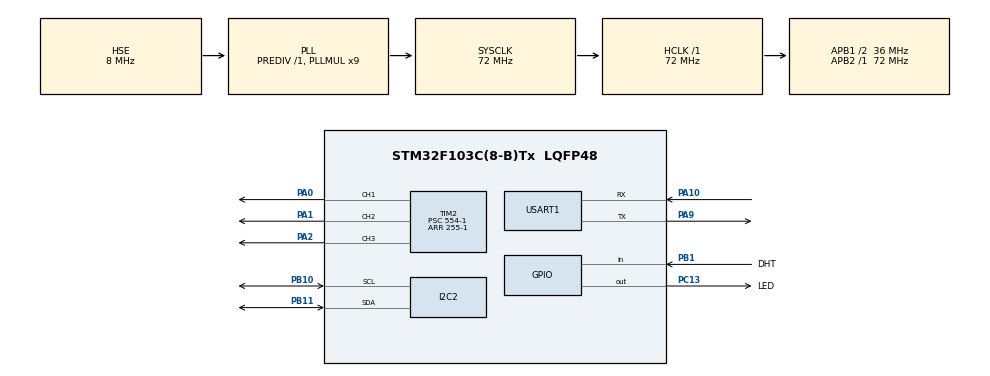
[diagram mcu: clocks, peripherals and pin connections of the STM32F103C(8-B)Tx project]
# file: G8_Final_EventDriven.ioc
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Mcu.Family=STM32F1
Mcu.Name=STM32F103C(8-B)Tx
Mcu.Package=LQFP48
NVIC.PriorityGroup=NVIC_PRIORITYGROUP_4
NVIC.TIM1_BRK_IRQn=true\:0\:0\:false\:false\:true\:true\:true\:true
NVIC.TIM1_UP_IRQn=true\:0\:0\:false\:false\:true\:true\:true\:true
NVIC.USART1_IRQn=true\:0\:0\:false\:false\:true\:true\:true\:true
PA0-WKUP.Signal=S_TIM2_CH1_ETR
PA1.Signal=S_TIM2_CH2
PA10.Mode=Asynchronous
PA10.Signal=USART1_RX
PA2.Signal=S_TIM2_CH3
PA9.Mode=Asynchronous
PA9.Signal=USART1_TX
PB1.GPIO_Label=DHT
PB1.Signal=GPIO_Input
PB10.Mode=I2C
PB10.Signal=I2C2_SCL
PB11.Mode=I2C
PB11.Signal=I2C2_SDA
PC13-TAMPER-RTC.GPIO_Label=LED
PC13-TAMPER-RTC.Signal=GPIO_Output
PD0-OSC_IN.Mode=HSE-External-Oscillator
PD0-OSC_IN.Signal=RCC_OSC_IN
PD1-OSC_OUT.Mode=HSE-External-Oscillator
PD1-OSC_OUT.Signal=RCC_OSC_OUT
ProjectManager.HeapSize=0x200
ProjectManager.StackSize=0x400
ProjectManager.TargetToolchain=STM32CubeIDE
RCC.AHBFreq_Value=72000000
RCC.APB1CLKDivider=RCC_HCLK_DIV2
RCC.APB1Freq_Value=36000000
RCC.APB1TimFreq_Value=72000000
RCC.APB2Freq_Value=72000000
RCC.APB2TimFreq_Value=72000000
RCC.HCLKFreq_Value=72000000
RCC.PLLMUL=RCC_PLL_MUL9
RCC.PLLSourceVirtual=RCC_PLLSOURCE_HSE
RCC.SYSCLKFreq_VALUE=72000000
RCC.SYSCLKSource=RCC_SYSCLKSOURCE_PLLCLK
RCC.USBFreq_Value=72000000
SH.S_TIM2_CH1_ETR.0=TIM2_CH1,PWM Generation1 CH1
SH.S_TIM2_CH2.0=TIM2_CH2,PWM Generation2 CH2
SH.S_TIM2_CH3.0=TIM2_CH3,PWM Generation3 CH3
TIM1.Period=200-1
TIM1.Prescaler=360-1
TIM2.Channel-PWM\ Generation1\ CH1=TIM_CHANNEL_1
TIM2.Channel-PWM\ Generation2\ CH2=TIM_CHANNEL_2
TIM2.Channel-PWM\ Generation3\ CH3=TIM_CHANNEL_3
TIM2.Period=255-1
TIM2.Prescaler=554-1
TIM4.Period=0xFFFF-1
TIM4.Prescaler=72-1
USART1.VirtualMode=VM_ASYNC
VP_TIM1_VS_ClockSourceINT.Mode=Internal
VP_TIM2_VS_ClockSourceINT.Mode=Internal
VP_TIM4_VS_ClockSourceINT.Mode=Internal
board=custom

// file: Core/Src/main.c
/* USER CODE BEGIN Header */
/**
  ******************************************************************************
  * @file           : main.c
  * @brief          : Main program body
  ******************************************************************************
  * @attention
  *
  * Copyright (c) 2023 STMicroelectronics.
  * All rights reserved.
  *
  * This software is licensed under terms that can be found in the LICENSE file
  * in the root directory of this software component.
  * If no LICENSE file comes with this software, it is provided AS-IS.
  *
  ******************************************************************************
  */
/* USER CODE END Header */
#include "main.h"

/* USER CODE BEGIN Includes */
#include <stdio.h>
#include <string.h>
#include <stdlib.h>
#include "taskQueue.h"
#include "dht11.h"
#include "rgb.h"
#include "delay_timer.h"
#include "lcd_i2c.h"
/* USER CODE END Includes */

/* USER CODE BEGIN PTD */

typedef enum
{
	DISPLAY_TEMP_HUMI,
	DISPLAY_TEMP,
	DISPLAY_HUMI,
} DisplayMode_t;

/* USER CODE END PTD */

/* USER CODE BEGIN PD */

#define MAX_RX_LEN 			13
#define RGB_COMMAND_LEN		12
#define DISPLAY_COMMAND_LEN 11
#define TIME_COMMAND_LEN 	8

/* USER CODE END PD */

I2C_HandleTypeDef hi2c2;

TIM_HandleTypeDef htim1;
TIM_HandleTypeDef htim2;
TIM_HandleTypeDef htim4;

UART_HandleTypeDef huart1;

/* USER CODE BEGIN PV */
RGB_t rgb;
const uint16_t rgbInterval = 500;

DHT11_Sensor dht;
DHT11_Status dhtStatus = DHT11_OK;
uint32_t dhtInterval = 2000;

TaskQueue_t queue;
Queue_Status queueStatus = QUEUE_OK;

LCD_I2C_Name lcd;

uint8_t red = 0, green = 0, blue = 0;
uint32_t P, t0;

uint8_t rxData[MAX_RX_LEN];
uint8_t rxDataIndex = 0;

DisplayMode_t DisplayMode = DISPLAY_TEMP_HUMI;
//TaskIndex_t TaskIndex;
pTaskFunction currentTask;

uint32_t count = 0;

/* USER CODE END PV */

void SystemClock_Config(void);
static void MX_GPIO_Init(void);
static void MX_TIM2_Init(void);
static void MX_TIM4_Init(void);
static void MX_USART1_UART_Init(void);
static void MX_I2C2_Init(void);
static void MX_TIM1_Init(void);
/* USER CODE BEGIN PFP */
void vTask_HandleInterrupt();
void vTask_ReadData();
void vTask_ControlRgb();
void vTask_Display();
void vTask_SendToCom();

/* USER CODE END PFP */

/* USER CODE BEGIN 0 */

int __io_putchar(int ch)
{
	HAL_UART_Transmit(&huart1, (uint8_t *)&ch, 1, HAL_MAX_DELAY);

	return ch;
}

void HAL_UART_RxCpltCallback(UART_HandleTypeDef *huart)
{
	if (huart->Instance == huart1.Instance)
	{
		if (rxData[rxDataIndex] == '@')
		{
			rxData[rxDataIndex] = '\0';
			queueStatus = Queue_PushFront(&queue, vTask_HandleInterrupt);
			rxDataIndex = 0;
		}
		else
		{
			rxDataIndex ++;
		}
	}
	HAL_UART_Receive_IT(&huart1, (uint8_t*)&rxData[rxDataIndex], 1);
}

void vTask_HandleInterrupt()
{
	NVIC_DisableIRQ(USART1_IRQn);
	const uint8_t* numPart;
	uint8_t buffer[5];
	printf("\n");
	switch (strlen((const char*)rxData))
	{
		case RGB_COMMAND_LEN:
			if (rxData[0] == 'r' && rxData[1] == 'g' && rxData[2] == 'b')
			{
				numPart = rxData + 3;
				for (int i = 0; i < 3; i++)
				{
					strncpy(buffer, (const char*)(numPart + i * 3), 3);
					buffer[3] = '\0'; // Null-terminate the buffer

					switch (i)
					{
						case 0: red = (uint8_t)atoi((const char*)buffer); break;
						case 1: green = (uint8_t)atoi((const char*)buffer); break;
						case 2: blue = (uint8_t)atoi((const char*)buffer); break;
					}
				}
				printf("Change RGB color:\r\n");
				printf("RED = %d\r\nGREEN = %d\r\nBLUE = %d\r\n\n", red, green, blue);
			}
			else
			{
				printf("Error Command Syntax\r\n\n");
			}
			break;
		case DISPLAY_COMMAND_LEN:
			if (strcmp((const char*)rxData, "displaytemp") == 0)
			{
				DisplayMode = DISPLAY_TEMP;
				printf("Change Display Mode to DISPLAY_TEMP\r\n\n");
			}
			else if (strcmp((const char*)rxData, "displayhumi") == 0)
			{
				DisplayMode = DISPLAY_HUMI;
				printf("Change Display Mode to DISPLAY_HUMI\r\n\n");
			}
			else if (strcmp((const char*)rxData, "displayboth") == 0)
			{
				DisplayMode = DISPLAY_TEMP_HUMI;
				printf("Change Display Mode to DISPLAY_TEMP_HUMI\r\n\n");
			}
			else
			{
				printf("Error Command Syntax\r\n\n");
			}
			break;
		case TIME_COMMAND_LEN:
			if(rxData[0] == 't' && rxData[1] == 'i' && rxData[2] == 'm' && rxData[3] == 'e')
			{
				numPart = rxData + 4;
				strncpy(buffer, (const char*)numPart, 4);
				buffer[4] = '\0'; // Null-terminate the buffer
				uint32_t old_dhtInterval = dhtInterval;
				dhtInterval = (uint32_t)atoi((const char*)buffer);

				if (dhtInterval >= 1500 && dhtInterval < 10000)
				{
					printf("Change DHT11 Period from %d to %d\r\n\n", old_dhtInterval, dhtInterval);
				}
				else
				{
					printf("The new Period is invalid! DHT11 Period stays the same: %d\r\n\n", old_dhtInterval);
					dhtInterval = old_dhtInterval;
				}
			}
			else
			{
				printf("Error Command Syntax\r\n\n");
			}
			break;
		default:
			printf("Error Command Syntax\r\n\n");
			break;
	}

	count = 0;

	NVIC_EnableIRQ(USART1_IRQn);

}

void vTask_ReadData()
{
	printf("vTask_ReadData IN: %ld\r\n", uwTick);

	NVIC_DisableIRQ(USART1_IRQn);
	dhtStatus = DHT11_GetData(&dht);
	NVIC_EnableIRQ(USART1_IRQn);

	switch(dhtStatus)
	{
		case DHT11_ERR_CHECKSUM:
			printf("DHT11 ERROR CHECKSUM\r\n");
			break;
		case DHT11_ERR_RESPONSE:
			printf("DHT11 ERROR RESPONSE\r\n");
			break;
		default:
			printf("Get Data from DHT11 successfully\r\n");
			break;
	}

	printf("vTask_ReadData OUT: %ld\r\n\n", uwTick);
}

void vTask_Display()
{
	char temp[18], humi[15];

	printf("vTask_Display IN: %ld\r\n", uwTick);

  	if (dhtStatus == DHT11_OK)
  	{
  	  	sprintf(temp, "Temp: %.2f", dht.Temp);
  	  	sprintf(humi, "Humi: %.2f", dht.Humi);

  	  	LCD_Clear(&lcd);

  	  	switch (DisplayMode)
  	  	{
  	  		case DISPLAY_TEMP:
  	  			LCD_SetCursor(&lcd, 0, 0);
  	  			LCD_WriteString(&lcd, temp);
  	  			break;
  	  		case DISPLAY_HUMI:
  	  			LCD_SetCursor(&lcd, 0, 0);
  	  			LCD_WriteString(&lcd, humi);
  	  			break;
  	  		default:
  	  			LCD_SetCursor(&lcd, 0, 0);
  	  			LCD_WriteString(&lcd, temp);
  	  			LCD_SetCursor(&lcd, 0, 1);
  	  			LCD_WriteString(&lcd, humi);
  	  			break;
  	  	}
  	}

  	printf("vTask_Display OUT: %ld\r\n\n", uwTick);
}

void vTask_ControlRgb()
{
	printf("vTask_ControlRgb IN: %ld\r\n", uwTick);

	RGB_SetValue(&rgb, red++, green++, blue++);

	printf("vTask_ControlRgb OUT: %ld\r\n\n", uwTick);
}

void vTask_SendToCom()
{
	printf("vTask_SendToCom IN: %ld\r\n", uwTick);

	if (dhtStatus == DHT11_OK)
	{
		switch (DisplayMode)
		{
			case DISPLAY_HUMI:
				printf("Humidity: %.2f\r\n", dht.Humi);
				break;
			case DISPLAY_TEMP:
				printf("Temperature: %.2f\r\n", dht.Temp);
				break;
			case DISPLAY_TEMP_HUMI:
				printf("Temperature: %.2f\r\n", dht.Temp);
				printf("Humidity: %.2f\r\n", dht.Humi);
				break;
		}
	}

	printf("vTask_SendToCom OUT: %ld\r\n\n", uwTick);
}

void HAL_TIM_PeriodElapsedCallback(TIM_HandleTypeDef *htim)
{
	 if(htim->Instance == htim1.Instance)
	 {
		 if (count % dhtInterval == 0)
		 {
			 Queue_PushRear(&queue, vTask_ReadData);
			 Queue_PushRear(&queue, vTask_Display);
			 Queue_PushRear(&queue, vTask_SendToCom);
			 Queue_PushRear(&queue, vTask_ControlRgb);
			 count = 0;
		 }
		 else if (count % rgbInterval == 0)
		 {
			 Queue_PushRear(&queue, vTask_ControlRgb);
		 }
		 count++;
	 }
}

/* USER CODE END 0 */

int main(void)
{

  /* MCU Configuration--------------------------------------------------------*/

  /* Reset of all peripherals, Initializes the Flash interface and the Systick. */
  HAL_Init();

  /* Configure the system clock */
  SystemClock_Config();

  /* Initialize all configured peripherals */
  MX_GPIO_Init();
  MX_TIM2_Init();
  MX_TIM4_Init();
  MX_USART1_UART_Init();
  MX_I2C2_Init();
  MX_TIM1_Init();
  /* USER CODE BEGIN 2 */

  printf("Start\r\n\n");

  DHT11_Init(&dht, DHT_GPIO_Port, DHT_Pin, &htim4);
  RGB_Init(&rgb, &htim2, TIM_CHANNEL_1, TIM_CHANNEL_2, TIM_CHANNEL_3);
  Queue_Init(&queue, MAX_TASKS);
  LCD_Init(&lcd, &hi2c2, LDC_DEFAULT_ADDRESS, 20, 4);
  HAL_TIM_Base_Start_IT(&htim1);

  HAL_UART_Receive_IT(&huart1, (uint8_t*)&rxData[rxDataIndex],  1);

  /* USER CODE END 2 */

  /* Infinite loop */
  while (1)
  {

    /* USER CODE BEGIN 3 */

	  if (queue.Size > 0)
	  {
		  Queue_Pop(&queue, &currentTask);
		  if (currentTask != NULL)
		  {
			  currentTask();
		  }
	  }
  }
  /* USER CODE END 3 */
}

void SystemClock_Config(void)
{
  RCC_OscInitTypeDef RCC_OscInitStruct = {0};
  RCC_ClkInitTypeDef RCC_ClkInitStruct = {0};

  /** Initializes the RCC Oscillators according to the specified parameters
  * in the RCC_OscInitTypeDef structure.
  */
  RCC_OscInitStruct.OscillatorType = RCC_OSCILLATORTYPE_HSE;
  RCC_OscInitStruct.HSEState = RCC_HSE_ON;
  RCC_OscInitStruct.HSEPredivValue = RCC_HSE_PREDIV_DIV1;
  RCC_OscInitStruct.HSIState = RCC_HSI_ON;
  RCC_OscInitStruct.PLL.PLLState = RCC_PLL_ON;
  RCC_OscInitStruct.PLL.PLLSource = RCC_PLLSOURCE_HSE;
  RCC_OscInitStruct.PLL.PLLMUL = RCC_PLL_MUL9;
  if (HAL_RCC_OscConfig(&RCC_OscInitStruct) != HAL_OK)
  {
    Error_Handler();
  }

  /** Initializes the CPU, AHB and APB buses clocks
  */
  RCC_ClkInitStruct.ClockType = RCC_CLOCKTYPE_HCLK|RCC_CLOCKTYPE_SYSCLK
                              |RCC_CLOCKTYPE_PCLK1|RCC_CLOCKTYPE_PCLK2;
  RCC_ClkInitStruct.SYSCLKSource = RCC_SYSCLKSOURCE_PLLCLK;
  RCC_ClkInitStruct.AHBCLKDivider = RCC_SYSCLK_DIV1;
  RCC_ClkInitStruct.APB1CLKDivider = RCC_HCLK_DIV2;
  RCC_ClkInitStruct.APB2CLKDivider = RCC_HCLK_DIV1;

  if (HAL_RCC_ClockConfig(&RCC_ClkInitStruct, FLASH_LATENCY_2) != HAL_OK)
  {
    Error_Handler();
  }
}

static void MX_I2C2_Init(void)
{

  hi2c2.Instance = I2C2;
  hi2c2.Init.ClockSpeed = 100000;
  hi2c2.Init.DutyCycle = I2C_DUTYCYCLE_2;
  hi2c2.Init.OwnAddress1 = 0;
  hi2c2.Init.AddressingMode = I2C_ADDRESSINGMODE_7BIT;
  hi2c2.Init.DualAddressMode = I2C_DUALADDRESS_DISABLE;
  hi2c2.Init.OwnAddress2 = 0;
  hi2c2.Init.GeneralCallMode = I2C_GENERALCALL_DISABLE;
  hi2c2.Init.NoStretchMode = I2C_NOSTRETCH_DISABLE;
  if (HAL_I2C_Init(&hi2c2) != HAL_OK)
  {
    Error_Handler();
  }

}

static void MX_TIM1_Init(void)
{

  TIM_ClockConfigTypeDef sClockSourceConfig = {0};
  TIM_MasterConfigTypeDef sMasterConfig = {0};

  htim1.Instance = TIM1;
  htim1.Init.Prescaler = 360-1;
  htim1.Init.CounterMode = TIM_COUNTERMODE_UP;
  htim1.Init.Period = 200-1;
  htim1.Init.ClockDivision = TIM_CLOCKDIVISION_DIV1;
  htim1.Init.RepetitionCounter = 0;
  htim1.Init.AutoReloadPreload = TIM_AUTORELOAD_PRELOAD_DISABLE;
  if (HAL_TIM_Base_Init(&htim1) != HAL_OK)
  {
    Error_Handler();
  }
  sClockSourceConfig.ClockSource = TIM_CLOCKSOURCE_INTERNAL;
  if (HAL_TIM_ConfigClockSource(&htim1, &sClockSourceConfig) != HAL_OK)
  {
    Error_Handler();
  }
  sMasterConfig.MasterOutputTrigger = TIM_TRGO_RESET;
  sMasterConfig.MasterSlaveMode = TIM_MASTERSLAVEMODE_DISABLE;
  if (HAL_TIMEx_MasterConfigSynchronization(&htim1, &sMasterConfig) != HAL_OK)
  {
    Error_Handler();
  }

}

static void MX_TIM2_Init(void)
{

  TIM_ClockConfigTypeDef sClockSourceConfig = {0};
  TIM_MasterConfigTypeDef sMasterConfig = {0};
  TIM_OC_InitTypeDef sConfigOC = {0};

  htim2.Instance = TIM2;
  htim2.Init.Prescaler = 554-1;
  htim2.Init.CounterMode = TIM_COUNTERMODE_UP;
  htim2.Init.Period = 255-1;
  htim2.Init.ClockDivision = TIM_CLOCKDIVISION_DIV1;
  htim2.Init.AutoReloadPreload = TIM_AUTORELOAD_PRELOAD_DISABLE;
  if (HAL_TIM_Base_Init(&htim2) != HAL_OK)
  {
    Error_Handler();
  }
  sClockSourceConfig.ClockSource = TIM_CLOCKSOURCE_INTERNAL;
  if (HAL_TIM_ConfigClockSource(&htim2, &sClockSourceConfig) != HAL_OK)
  {
    Error_Handler();
  }
  if (HAL_TIM_PWM_Init(&htim2) != HAL_OK)
  {
    Error_Handler();
  }
  sMasterConfig.MasterOutputTrigger = TIM_TRGO_RESET;
  sMasterConfig.MasterSlaveMode = TIM_MASTERSLAVEMODE_DISABLE;
  if (HAL_TIMEx_MasterConfigSynchronization(&htim2, &sMasterConfig) != HAL_OK)
  {
    Error_Handler();
  }
  sConfigOC.OCMode = TIM_OCMODE_PWM1;
  sConfigOC.Pulse = 0;
  sConfigOC.OCPolarity = TIM_OCPOLARITY_HIGH;
  sConfigOC.OCFastMode = TIM_OCFAST_DISABLE;
  if (HAL_TIM_PWM_ConfigChannel(&htim2, &sConfigOC, TIM_CHANNEL_1) != HAL_OK)
  {
    Error_Handler();
  }
  if (HAL_TIM_PWM_ConfigChannel(&htim2, &sConfigOC, TIM_CHANNEL_2) != HAL_OK)
  {
    Error_Handler();
  }
  if (HAL_TIM_PWM_ConfigChannel(&htim2, &sConfigOC, TIM_CHANNEL_3) != HAL_OK)
  {
    Error_Handler();
  }
  HAL_TIM_MspPostInit(&htim2);

}

static void MX_TIM4_Init(void)
{

  TIM_ClockConfigTypeDef sClockSourceConfig = {0};
  TIM_MasterConfigTypeDef sMasterConfig = {0};

  htim4.Instance = TIM4;
  htim4.Init.Prescaler = 72-1;
  htim4.Init.CounterMode = TIM_COUNTERMODE_UP;
  htim4.Init.Period = 0xFFFF-1;
  htim4.Init.ClockDivision = TIM_CLOCKDIVISION_DIV1;
  htim4.Init.AutoReloadPreload = TIM_AUTORELOAD_PRELOAD_DISABLE;
  if (HAL_TIM_Base_Init(&htim4) != HAL_OK)
  {
    Error_Handler();
  }
  sClockSourceConfig.ClockSource = TIM_CLOCKSOURCE_INTERNAL;
  if (HAL_TIM_ConfigClockSource(&htim4, &sClockSourceConfig) != HAL_OK)
  {
    Error_Handler();
  }
  sMasterConfig.MasterOutputTrigger = TIM_TRGO_RESET;
  sMasterConfig.MasterSlaveMode = TIM_MASTERSLAVEMODE_DISABLE;
  if (HAL_TIMEx_MasterConfigSynchronization(&htim4, &sMasterConfig) != HAL_OK)
  {
    Error_Handler();
  }

}

static void MX_USART1_UART_Init(void)
{

  huart1.Instance = USART1;
  huart1.Init.BaudRate = 115200;
  huart1.Init.WordLength = UART_WORDLENGTH_8B;
  huart1.Init.StopBits = UART_STOPBITS_1;
  huart1.Init.Parity = UART_PARITY_NONE;
  huart1.Init.Mode = UART_MODE_TX_RX;
  huart1.Init.HwFlowCtl = UART_HWCONTROL_NONE;
  huart1.Init.OverSampling = UART_OVERSAMPLING_16;
  if (HAL_UART_Init(&huart1) != HAL_OK)
  {
    Error_Handler();
  }

}

static void MX_GPIO_Init(void)
{
  GPIO_InitTypeDef GPIO_InitStruct = {0};

  /* GPIO Ports Clock Enable */
  __HAL_RCC_GPIOC_CLK_ENABLE();
  __HAL_RCC_GPIOD_CLK_ENABLE();
  __HAL_RCC_GPIOA_CLK_ENABLE();
  __HAL_RCC_GPIOB_CLK_ENABLE();

  /*Configure GPIO pin Output Level */
  HAL_GPIO_WritePin(LED_GPIO_Port, LED_Pin, GPIO_PIN_RESET);

  /*Configure GPIO pin : LED_Pin */
  GPIO_InitStruct.Pin = LED_Pin;
  GPIO_InitStruct.Mode = GPIO_MODE_OUTPUT_PP;
  GPIO_InitStruct.Pull = GPIO_NOPULL;
  GPIO_InitStruct.Speed = GPIO_SPEED_FREQ_LOW;
  HAL_GPIO_Init(LED_GPIO_Port, &GPIO_InitStruct);

  /*Configure GPIO pin : DHT_Pin */
  GPIO_InitStruct.Pin = DHT_Pin;
  GPIO_InitStruct.Mode = GPIO_MODE_INPUT;
  GPIO_InitStruct.Pull = GPIO_NOPULL;
  HAL_GPIO_Init(DHT_GPIO_Port, &GPIO_InitStruct);

}

void Error_Handler(void)
{
  __disable_irq();
  while (1)
  {
  }
}
